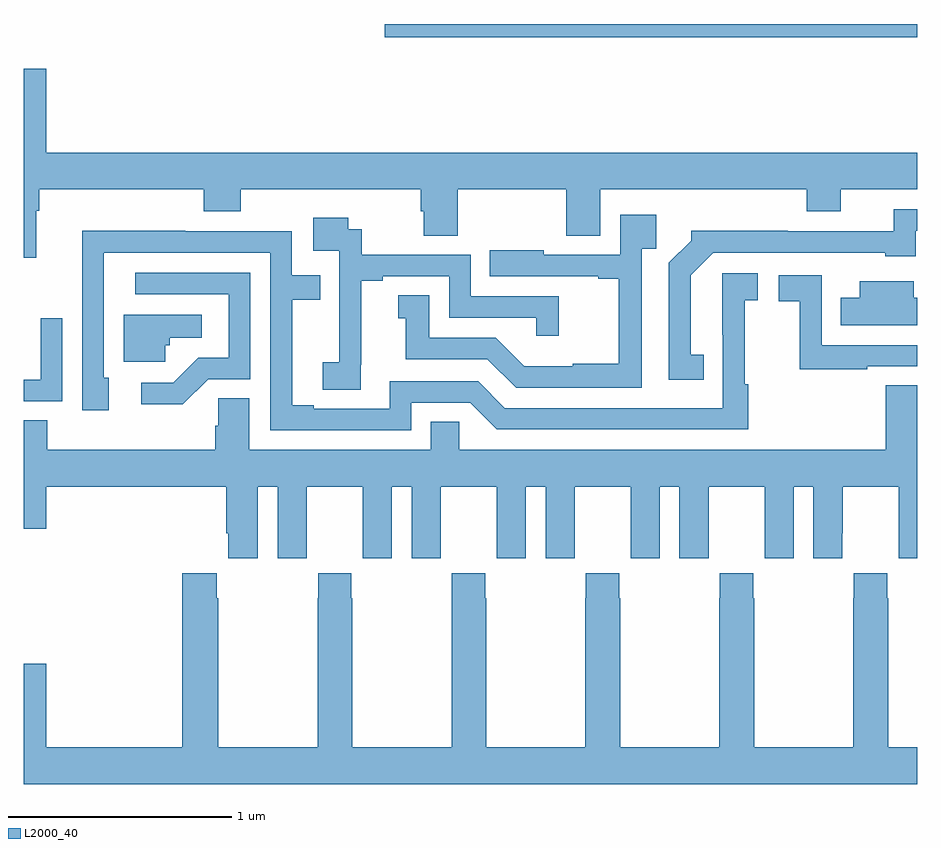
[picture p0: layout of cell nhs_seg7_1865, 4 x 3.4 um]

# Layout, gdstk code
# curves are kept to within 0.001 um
import gdstk
lib = gdstk.Library(unit=1e-6, precision=1e-09)
def R(c, l, rs):  # rectangles x0, y0, x1, y1
    for r in rs: c.add(gdstk.rectangle(r[:2], r[2:], *l))
def P(c, l, *ps):  # polygons
    for p in ps: c.add(gdstk.Polygon(p, *l))
L2000_40 = (2000, 40)

nhs_seg7_1865 = lib.new_cell('nhs_seg7_1865')
R(nhs_seg7_1865, L2000_40, [(238.615,1023.94,241,1024)])
P(nhs_seg7_1865, L2000_40, [(237.055,1023.164),(237.068,1023.164),(237.068,1023.26),(237.806,1023.26),(237.806,1023.161),(237.971,1023.161),(237.971,1023.26),(238.778,1023.26),(238.778,1023.162),(238.79,1023.162),(238.79,1023.052),(238.943,1023.052),(238.943,1023.26),(239.429,1023.26),(239.429,1023.052),(239.581,1023.052),(239.581,1023.26),(240.506,1023.26),(240.506,1023.161),(240.658,1023.161),(240.658,1023.26),(241,1023.26),(241,1023.424),(237.1,1023.424),(237.1,1023.799),(237,1023.799),(237,1022.953),(237.055,1022.953)],
  [(240.044,1022.519),(239.986,1022.519),(239.986,1022.875),(240.087,1022.976),(240.858,1022.976),(240.858,1022.96),(240.994,1022.96),(240.994,1023.075),(241,1023.075),(241,1023.171),(240.895,1023.171),(240.895,1023.072),(240.422,1023.072),(240.422,1023.074),(239.988,1023.074),(239.988,1023.029),(239.889,1022.93),(239.889,1022.406),(240.044,1022.406)],
  [(239.766,1022.993),(239.831,1022.993),(239.831,1023.145),(239.67,1023.145),(239.67,1022.967),(239.329,1022.967),(239.329,1022.986),(239.086,1022.986),(239.086,1022.871),(239.573,1022.871),(239.573,1022.859),(239.665,1022.859),(239.665,1022.479),(239.459,1022.479),(239.459,1022.467),(239.24,1022.467),(239.112,1022.595),(238.816,1022.595),(238.816,1022.786),(238.676,1022.786),(238.676,1022.683),(238.709,1022.683),(238.709,1022.499),(239.076,1022.499),(239.205,1022.37),(239.766,1022.37)],
  [(238.508,1022.473),(238.51,1022.473),(238.51,1022.851),(238.606,1022.851),(238.606,1022.871),(238.905,1022.871),(238.905,1022.685),(239.295,1022.685),(239.295,1022.604),(239.396,1022.604),(239.396,1022.781),(239.001,1022.781),(239.001,1022.967),(238.514,1022.967),(238.514,1023.081),(238.452,1023.081),(238.452,1023.133),(238.296,1023.133),(238.296,1022.985),(238.413,1022.985),(238.413,1022.681),(238.412,1022.681),(238.412,1022.484),(238.338,1022.484),(238.338,1022.362),(238.508,1022.362)],
  [(238.734,1022.304),(238.998,1022.304),(239.118,1022.184),(240.245,1022.184),(240.245,1022.387),(240.228,1022.387),(240.228,1022.763),(240.286,1022.763),(240.286,1022.884),(240.128,1022.884),(240.129,1022.28),(239.154,1022.28),(239.034,1022.4),(238.638,1022.4),(238.638,1022.277),(238.297,1022.277),(238.297,1022.292),(238.201,1022.292),(238.201,1022.766),(238.328,1022.766),(238.328,1022.874),(238.2,1022.874),(238.2,1023.072),(237.722,1023.072),(237.722,1023.074),(237.26,1023.074),(237.261,1022.271),(237.379,1022.271),(237.379,1022.415),(237.357,1022.415),(237.357,1022.976),(238.104,1022.976),(238.104,1022.181),(238.734,1022.181)],
  [(237.825,1022.409),(238.014,1022.409),(238.014,1022.886),(237.498,1022.886),(237.498,1022.79),(237.918,1022.79),(237.918,1022.505),(237.78,1022.505),(237.669,1022.394),(237.525,1022.394),(237.525,1022.297),(237.712,1022.297)],
  [(240.776,1022.466),(241,1022.466),(241,1022.562),(240.573,1022.562),(240.573,1022.874),(240.381,1022.874),(240.381,1022.758),(240.475,1022.758),(240.475,1022.454),(240.776,1022.454)],
  [(241,1022.773),(240.985,1022.773),(240.985,1022.848),(240.743,1022.848),(240.743,1022.773),(240.658,1022.773),(240.658,1022.651),(241,1022.651)],
  [(237.633,1022.562),(237.652,1022.562),(237.652,1022.594),(237.796,1022.594),(237.796,1022.698),(237.446,1022.698),(237.446,1022.487),(237.633,1022.487)],
  [(237.171,1022.683),(237.075,1022.683),(237.075,1022.406),(237,1022.406),(237,1022.31),(237.171,1022.31)],
  [(238.009,1022.324),(237.87,1022.324),(237.87,1022.201),(237.857,1022.201),(237.857,1022.092),(237.104,1022.092),(237.104,1022.225),(237,1022.225),(237,1021.74),(237.1,1021.74),(237.1,1021.928),(237.905,1021.928),(237.905,1021.72),(237.914,1021.72),(237.914,1021.608),(238.048,1021.608),(238.048,1021.928),(238.136,1021.928),(238.136,1021.608),(238.266,1021.608),(238.266,1021.72),(238.267,1021.72),(238.267,1021.928),(238.517,1021.928),(238.517,1021.72),(238.518,1021.72),(238.518,1021.608),(238.648,1021.608),(238.648,1021.928),(238.736,1021.928),(238.736,1021.608),(238.866,1021.608),(238.866,1021.72),(238.867,1021.72),(238.867,1021.928),(239.117,1021.928),(239.117,1021.72),(239.118,1021.72),(239.118,1021.608),(239.248,1021.608),(239.248,1021.928),(239.336,1021.928),(239.336,1021.608),(239.466,1021.608),(239.466,1021.72),(239.467,1021.72),(239.467,1021.928),(239.717,1021.928),(239.717,1021.72),(239.718,1021.72),(239.718,1021.608),(239.848,1021.608),(239.848,1021.928),(239.936,1021.928),(239.936,1021.608),(240.066,1021.608),(240.066,1021.72),(240.067,1021.72),(240.067,1021.928),(240.317,1021.928),(240.317,1021.72),(240.318,1021.72),(240.318,1021.608),(240.448,1021.608),(240.448,1021.928),(240.536,1021.928),(240.536,1021.608),(240.666,1021.608),(240.666,1021.72),(240.667,1021.72),(240.667,1021.928),(240.917,1021.928),(240.917,1021.72),(240.918,1021.72),(240.918,1021.608),(241,1021.608),(241,1022.381),(240.86,1022.381),(240.86,1022.092),(238.95,1022.092),(238.95,1022.219),(238.823,1022.219),(238.823,1022.092),(238.009,1022.092)],
  [(241,1020.76),(240.87,1020.76),(240.87,1021.427),(240.867,1021.427),(240.867,1021.54),(240.717,1021.54),(240.717,1021.427),(240.715,1021.427),(240.715,1020.76),(240.27,1020.76),(240.27,1021.427),(240.267,1021.427),(240.267,1021.54),(240.117,1021.54),(240.117,1021.427),(240.115,1021.427),(240.115,1020.76),(239.67,1020.76),(239.67,1021.427),(239.667,1021.427),(239.667,1021.54),(239.517,1021.54),(239.517,1021.427),(239.515,1021.427),(239.515,1020.76),(239.07,1020.76),(239.07,1021.427),(239.067,1021.427),(239.067,1021.54),(238.917,1021.54),(238.917,1021.427),(238.915,1021.427),(238.915,1020.76),(238.47,1020.76),(238.47,1021.427),(238.467,1021.427),(238.467,1021.54),(238.317,1021.54),(238.317,1021.427),(238.315,1021.427),(238.315,1020.76),(237.87,1020.76),(237.87,1021.427),(237.863,1021.427),(237.863,1021.54),(237.71,1021.54),(237.71,1020.76),(237.1,1020.76),(237.1,1021.135),(237,1021.135),(237,1020.596),(241,1020.596)])

lib.write_gds('nhs_seg7_1865.gds')
